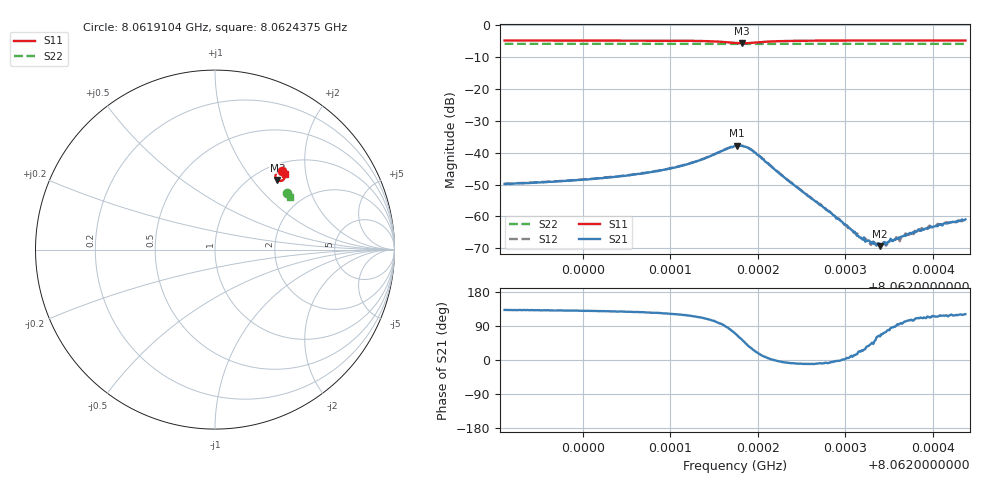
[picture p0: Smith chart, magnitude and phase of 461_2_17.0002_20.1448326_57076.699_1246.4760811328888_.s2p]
#  HZ  S  RI  R  50.00
! Rohde & Schwarz Vector Network Analyzer
! Rohde-Schwarz,ZNB20-2Port,1311601062101988,3.16
! Created: UTC 3/20/2024, 11:12:46 PM
! freq[Hz]  re:S11  im:S11  re:S21  im:S21  re:S12  im:S12  re:S22  im:S22
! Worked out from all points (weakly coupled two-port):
!   401 points, 8.0619104 GHz to 8.0624375 GHz, reference 50 ohm
!   highest |S21| = -37.81 dB at 8.0621766 GHz (marker M1); lowest = -69.3 dB at 8.06234 GHz (marker M2)
!   lowest |S11| = -5.7 dB at 8.0621819 GHz (marker M3), VSWR 3.17, Z = 63.3 + j67.2 ohm
!   |S11| at or under -10 dB: nowhere
!   |S22| runs from -5.9 to -5.8 dB; largest |S21 - S12| = 0.00089
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8.06191044e9  0.3713 0.4405  -0.00217 0.00239  -0.00203 0.00257  0.4004 0.3166
8.06199872e9  0.3778 0.4345  -0.00241 0.00288  -0.00227 0.00307  0.4039 0.3119
8.06204747e9  0.3819 0.4299  -0.00265 0.00344  -0.00242 0.00364  0.4057 0.3096
8.06208699e9  0.3857 0.4243  -0.00291 0.00432  -0.00268 0.00452  0.407 0.3074
8.06212652e9  0.3896 0.4134  -0.00303 0.00636  -0.0027 0.00657  0.4084 0.3049
8.06217396e9  0.3627 0.3822  0.00422 0.012  0.00499 0.0119  0.4084 0.3017
8.06217659e9  0.3575 0.383  0.00548 0.0116  0.0061 0.0114  0.4083 0.3016
8.06218186e9  0.3472 0.3876  0.00755 0.0104  0.00821 0.00986  0.4081 0.3018
8.06219504e9  0.3367 0.4113  0.00933 0.00459  0.00973 0.00415  0.4083 0.3023
8.06223457e9  0.3617 0.4355  0.00364 -0.000459  0.00366 -0.000698  0.4111 0.3011
8.06226224e9  0.3715 0.4346  0.00184 -0.00033  0.00184 -0.00049  0.4125 0.2996
8.06228463e9  0.3762 0.433  0.0011 -0.000116  0.00109 -0.000197  0.4134 0.2984
8.06231626e9  0.3807 0.4306  0.000431 0.000184  0.000496 0.00015  0.4146 0.2968
8.06232812e9  0.3823 0.4297  0.000312 0.00026  0.000293 0.000238  0.4151 0.2962
8.06233997e9  0.3836 0.4289  0.000161 0.000304  0.000208 0.000296  0.4155 0.2954
8.06234524e9  0.3841 0.4284  0.000119 0.000376  0.000109 0.000372  0.4157 0.2954
8.06235051e9  0.3846 0.4281  7.87e-05 0.000393  6.63e-05 0.000431  0.416 0.295
8.06236237e9  0.3857 0.4273  -4.62e-05 0.000463  7.21e-07 0.000408  0.4164 0.2944
8.0623716e9  0.3864 0.4267  -0.000125 0.000511  -8.62e-05 0.000522  0.4167 0.2938
8.0623795e9  0.3871 0.4263  -0.000171 0.000533  -0.000139 0.000578  0.4169 0.2934
8.06239795e9  0.3887 0.4251  -0.000263 0.000638  -0.000227 0.000643  0.4175 0.2925
8.06243748e9  0.3917 0.4227  -0.000462 0.000769  -0.00039 0.000777  0.4189 0.2904
